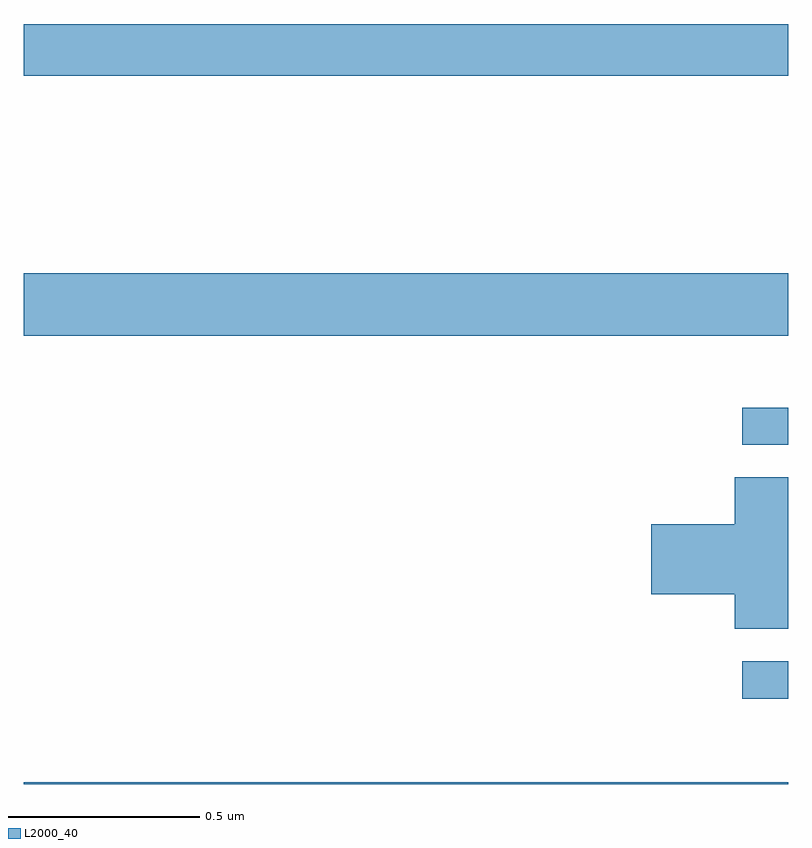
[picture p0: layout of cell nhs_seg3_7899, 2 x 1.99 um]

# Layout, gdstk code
import gdstk
lib = gdstk.Library(unit=1e-6, precision=1e-09)
def R(c, l, rs):  # rectangles x0, y0, x1, y1
    for r in rs: c.add(gdstk.rectangle(r[:2], r[2:], *l))
def P(c, l, *ps):  # polygons
    for p in ps: c.add(gdstk.Polygon(p, *l))
L2000_40 = (2000, 40)

nhs_seg3_7899 = lib.new_cell('nhs_seg3_7899')
R(nhs_seg3_7899, L2000_40, [(209,710.4,211,710.404), (210.879,710.623,211,710.721), (210.879,711.288,211,711.384), (209,711.572,211,711.736), (209,712.252,211,712.388)])
P(nhs_seg3_7899, L2000_40, [(211,711.203),(210.86,711.203),(210.86,711.08),(210.642,711.08),(210.642,710.897),(210.86,710.897),(210.86,710.806),(211,710.806)])

lib.write_gds('nhs_seg3_7899.gds')
